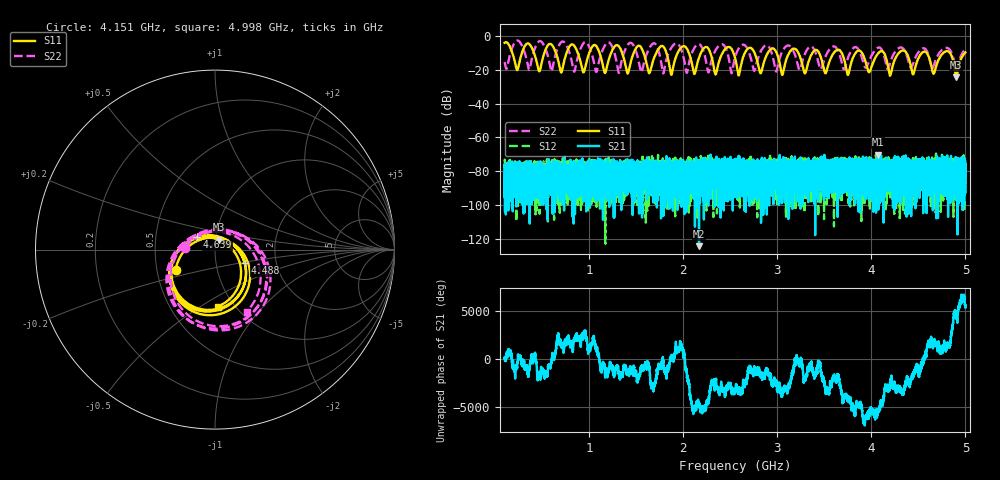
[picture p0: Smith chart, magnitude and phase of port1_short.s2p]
!Keysight Technologies N9917A: A.13.25
!Date: Thursday, 15 October 2026 16:18:18
!Timezone: (UTC-08:00) Pacific Time (US & Canada)
!Model: N9917A
!Serial: MY56072049
!GPS Latitude:
!GPS Longitude:
!GPS TimeStamp: 0001-01-01 00:00:00Z
!GPS Seconds Since Last Read: 0
!CHECKSUM:0658150787
!Correction: S11(Rdy)S21(Rdy)S12(Rdy)S22(Rdy)
!S2P File: Measurements:S11,S21,S12,S22:
# Hz S DB R 50
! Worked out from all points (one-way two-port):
!   10001 points, 100 MHz to 5 GHz, reference 50 ohm
!   highest |S21| = -70.09 dB at 4.073 GHz (marker M1); lowest = -124.2 dB at 2.167 GHz (marker M2)
!   lowest |S11| = -24.6 dB at 4.903 GHz (marker M3), VSWR 1.12, Z = 51.9 + j5.68 ohm
!   |S11| at or under -10 dB: 3.899 GHz to 4.079 GHz (179.6 MHz wide, 4.5 % of centre); 4.371 GHz to 4.54 GHz (168.8 MHz wide, 3.79 % of centre); 4.587 GHz to 4.769 GHz (181.3 MHz wide, 3.88 % of centre) (the widest 3 of 21)
!   |S22| runs from -22.3 to -2.8 dB; largest |S21 - S12| = 0.00046
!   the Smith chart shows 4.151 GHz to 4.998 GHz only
!   S11 on the Smith chart (normalised r, x): 4.151 GHz: 0.63, -0.15; 4.488 GHz: 1.38, -0.21; 4.639 GHz: 0.81, +0.11; 4.998 GHz: 0.84, -0.59
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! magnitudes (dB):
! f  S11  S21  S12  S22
! 100 MHz  -4.2  -86.9  -85.2  -15.5
! 231.8 MHz  -20.2  -78.8  -77.8  -2.8
! 360.2 MHz  -4.8  -89.9  -79.2  -20.2
! 469.9 MHz  -21.0  -81.9  -77.6  -3.2
! 598.3 MHz  -5.2  -79.0  -81.3  -21.1
! 916.8 MHz  -17.6  -82.1  -83.9  -6.5
! 1.075 GHz  -6.1  -87.3  -79.0  -21.4
! 1.168 GHz  -22.0  -78.8  -82.7  -5.7
! 1.734 GHz  -8.0  -83.8  -82.1  -8.3
! 1.874 GHz  -23.0  -78.1  -82.9  -7.0
! 2.039 GHz  -7.7  -76.8  -77.9  -21.8
! 2.167 GHz  -12.9  -124.2  -78.4  -4.9
! 2.55 GHz  -12.9  -82.5  -81.2  -12.7
! 3.367 GHz  -10.7  -76.4  -74.8  -6.5
! 4.073 GHz  -10.4  -70.1  -78.8  -7.0
! 4.151 GHz  -12.2  -83.8  -77.5  -15.5
! 4.184 GHz  -20.2  -86.4  -80.6  -19.1
! 4.488 GHz  -14.8  -85.7  -76.2  -10.8
! 4.639 GHz  -18.2  -79.5  -80.6  -18.6
! 4.903 GHz  -24.6  -77.0  -93.1  -19.9
! 4.998 GHz  -10.0  -93.0  -88.2  -8.2
! 5 GHz  -9.9  -79.1  -77.2  -8.2
